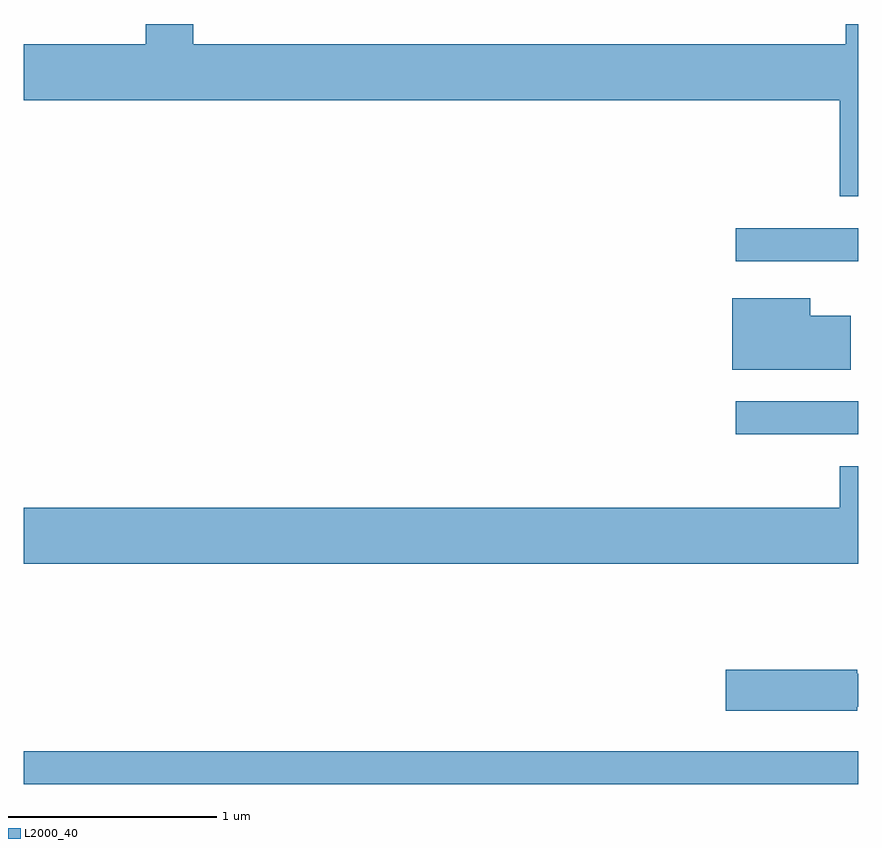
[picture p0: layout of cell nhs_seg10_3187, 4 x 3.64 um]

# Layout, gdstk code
import gdstk
lib = gdstk.Library(unit=1e-6, precision=1e-09)
def R(c, l, rs):  # rectangles x0, y0, x1, y1
    for r in rs: c.add(gdstk.rectangle(r[:2], r[2:], *l))
def P(c, l, *ps):  # polygons
    for p in ps: c.add(gdstk.Polygon(p, *l))
L2000_40 = (2000, 40)

nhs_seg10_3187 = lib.new_cell('nhs_seg10_3187')
R(nhs_seg10_3187, L2000_40, [(279.611,2092.881,283.611,2093.039), (283.023,2094.556,283.611,2094.714), (283.023,2095.386,283.611,2095.544)])
P(nhs_seg10_3187, L2000_40, [(283.611,2096.522),(283.551,2096.522),(283.551,2096.424),(280.424,2096.424),(280.424,2096.522),(280.196,2096.522),(280.196,2096.424),(279.611,2096.424),(279.611,2096.156),(283.521,2096.156),(283.521,2095.696),(283.611,2095.696)],
  [(283.574,2095.124),(283.379,2095.124),(283.379,2095.209),(283.006,2095.209),(283.006,2094.866),(283.574,2094.866)],
  [(283.611,2094.404),(283.521,2094.404),(283.521,2094.204),(279.611,2094.204),(279.611,2093.936),(283.611,2093.936)],
  [(283.604,2093.251),(283.611,2093.251),(283.611,2093.409),(283.604,2093.409),(283.604,2093.429),(282.976,2093.429),(282.976,2093.231),(283.604,2093.231)])

lib.write_gds('nhs_seg10_3187.gds')
